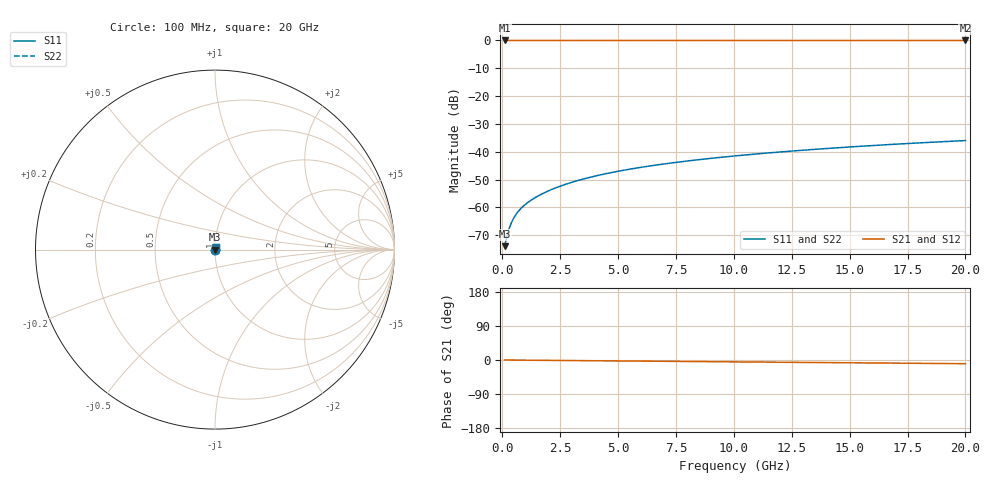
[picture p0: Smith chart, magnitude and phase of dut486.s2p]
! Touchstone file exported from HFSS 2026.1.0
!  File:  C:/ffzhzh/LocalFiles/Ansys_Project_Files/temp_train_TSV_486_1783022673_46388.aedt
!  Generated:  04:06:23 AM Jul  3, 2026
!  Design:  TSV
!  Project:  temp_train_TSV_486_1783022673_46388
! Variables:
!  h_bsmrdl = 2um
!  h_ox = 20um
!  h_rdl = 5um
!  h_sub = 99.96um
!  h_tmrdl = 5um
!  h_tsv = 99.96um
!  h_via = 3um
!  l_bsmrdl = 300um
!  l_sub = 419.76um
!  l_tmrdl = 200um
!  m_sub = 200um
!  pitch = 44.75um
!  r_tsv = 9.88um
!  s_tmrdl = 10um
!  w_bsmrdl = 18um
!  w_sub = 500um
!  w_tmrdl = 12um
!  x_tsv_center1 = 206um
!  x_tsv_center2 = 524um
!  x_tsv_center3 = 736um
!  x_tsv_center4 = 1054um
!  x_tsv_center5 = 1266um
!  x_tsv_center6 = 1584um
# GHz S MA R 50.000000
! Terminal data exported
! Port[1] = TSV1_1_T1
! Port[2] = TSV1_1_T2
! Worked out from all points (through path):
!   200 points, 100 MHz to 20 GHz, reference 50 ohm
!   highest |S21| = 0.00 dB at 100 MHz (marker M1); lowest = 0.0 dB at 20 GHz (marker M2)
!   group delay of S21, straight-line fit = 1.36 ps
!   lowest |S11| = -73.9 dB at 100 MHz (marker M3), VSWR 1.00, Z = 50 + j0.0131 ohm
!   |S11| at or under -10 dB: start of sweep to end of sweep
!   |S22| runs from -73.9 to -36.0 dB; largest |S21 - S12| = 2.1e-15
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0.1  0.0002019 40.3  0.9998 -0.1  0.9998 -0.1  0.0002019 40.3
! Gamma 0 0 0 0
! Port Impedance 50 0 50 0
0.2  0.0003081 57.0  0.9998 -0.1  0.9998 -0.1  0.0003081 57.0
0.3  0.0004249 63.6  0.9998 -0.2  0.9998 -0.2  0.0004249 63.6
0.4  0.0005406 66.6  0.9998 -0.2  0.9998 -0.2  0.0005406 66.6
0.5  0.0006519 68.1  0.9998 -0.3  0.9998 -0.3  0.0006519 68.1
0.6  0.000758 68.9  0.9997 -0.3  0.9997 -0.3  0.000758 68.9
0.7  0.0008591 69.5  0.9997 -0.4  0.9997 -0.4  0.0008591 69.5
0.8  0.000956 70.0  0.9997 -0.4  0.9997 -0.4  0.000956 70.0
1  0.00114 70.8  0.9996 -0.5  0.9996 -0.5  0.00114 70.8
1.4  0.001488 72.3  0.9996 -0.7  0.9996 -0.7  0.001488 72.3
1.7  0.001742 73.4  0.9995 -0.8  0.9995 -0.8  0.001742 73.4
2  0.001994 74.3  0.9995 -1.0  0.9995 -1.0  0.001994 74.3
2.7  0.002581 75.8  0.9994 -1.3  0.9994 -1.3  0.002581 75.8
3.5  0.003247 76.8  0.9993 -1.7  0.9993 -1.7  0.003247 76.8
4.2  0.003823 77.2  0.9993 -2.1  0.9993 -2.1  0.003823 77.2
5  0.004473 77.6  0.9992 -2.5  0.9992 -2.5  0.004473 77.6
6.8  0.005909 77.8  0.9991 -3.3  0.9991 -3.3  0.005909 77.8
8.3  0.007084 77.7  0.999 -4.1  0.999 -4.1  0.007084 77.7
10.1  0.008478 77.5  0.9989 -5.0  0.9989 -5.0  0.008478 77.5
13.4  0.011 76.8  0.9987 -6.6  0.9987 -6.6  0.011 76.8
16.7  0.01349 75.8  0.9985 -8.2  0.9985 -8.2  0.01349 75.8
20  0.01593 74.6  0.9983 -9.8  0.9983 -9.8  0.01593 74.6
